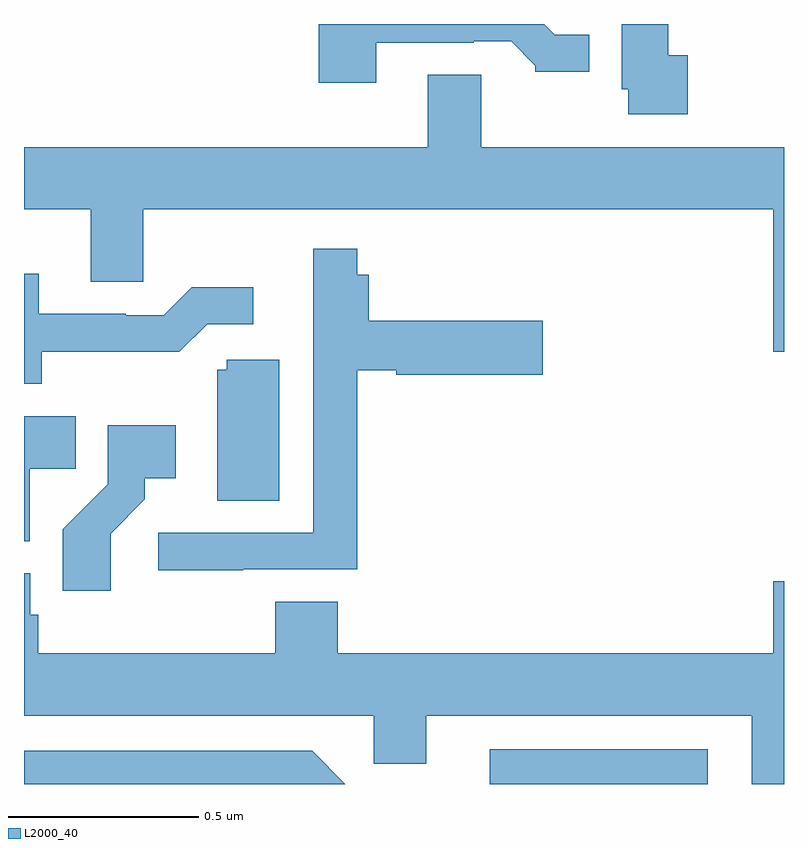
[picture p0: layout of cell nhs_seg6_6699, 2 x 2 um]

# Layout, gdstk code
import gdstk
lib = gdstk.Library(unit=1e-6, precision=1e-09)
def R(c, l, rs):  # rectangles x0, y0, x1, y1
    for r in rs: c.add(gdstk.rectangle(r[:2], r[2:], *l))
def P(c, l, *ps):  # polygons
    for p in ps: c.add(gdstk.Polygon(p, *l))
L2000_40 = (2000, 40)

nhs_seg6_6699 = lib.new_cell('nhs_seg6_6699')
R(nhs_seg6_6699, L2000_40, [(200.225,936.5,200.799,936.591)])
P(nhs_seg6_6699, L2000_40, [(200.747,938.418),(200.695,938.418),(200.695,938.5),(200.573,938.5),(200.573,938.328),(200.59,938.328),(200.59,938.262),(200.747,938.262)],
  [(199.927,938.451),(200.183,938.451),(200.183,938.454),(200.282,938.454),(200.346,938.39),(200.346,938.375),(200.488,938.375),(200.488,938.472),(200.397,938.472),(200.369,938.5),(199.775,938.5),(199.775,938.346),(199.927,938.346)],
  [(201,938.176),(200.203,938.176),(200.203,938.366),(200.063,938.366),(200.063,938.176),(199,938.176),(199,938.012),(199.175,938.012),(199.175,937.822),(199.314,937.822),(199.314,938.012),(200.972,938.012),(200.972,937.638),(201,937.638)],
  [(199.577,937.065),(199.877,937.065),(199.877,937.589),(199.98,937.589),(199.98,937.577),(200.365,937.577),(200.365,937.719),(199.907,937.719),(199.907,937.84),(199.877,937.84),(199.877,937.909),(199.761,937.909),(199.761,937.161),(199.353,937.161),(199.353,937.063),(199.577,937.063)],
  [(199.047,937.638),(199.31,937.638),(199.31,937.637),(199.409,937.637),(199.482,937.71),(199.603,937.71),(199.603,937.807),(199.441,937.807),(199.368,937.734),(199.268,937.734),(199.268,937.737),(199.039,937.737),(199.039,937.843),(199,937.843),(199,937.553),(199.047,937.553)],
  [(199.672,937.617),(199.533,937.617),(199.533,937.59),(199.508,937.59),(199.508,937.246),(199.672,937.246)],
  [(199.015,937.33),(199.136,937.33),(199.136,937.468),(199,937.468),(199,937.139),(199.015,937.139)],
  [(199.228,937.159),(199.318,937.249),(199.318,937.304),(199.399,937.304),(199.399,937.444),(199.221,937.444),(199.221,937.289),(199.102,937.17),(199.102,937.008),(199.228,937.008)],
  [(201,937.033),(200.972,937.033),(200.972,936.844),(199.826,936.844),(199.826,936.98),(199.661,936.98),(199.661,936.844),(199.037,936.844),(199.037,936.945),(199.017,936.945),(199.017,937.054),(199,937.054),(199,936.68),(199.92,936.68),(199.92,936.553),(200.059,936.553),(200.059,936.68),(200.915,936.68),(200.915,936.5),(201,936.5)],
  [(199.758,936.588),(199,936.588),(199,936.5),(199.846,936.5)])

lib.write_gds('nhs_seg6_6699.gds')
